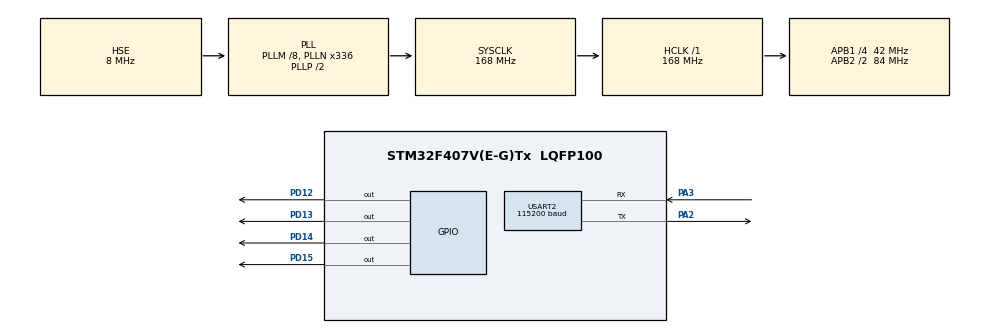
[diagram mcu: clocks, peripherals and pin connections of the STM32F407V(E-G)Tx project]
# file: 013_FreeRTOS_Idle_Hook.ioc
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FREERTOS.Tasks01=defaultTask,24,128,StartDefaultTask,Default,NULL,Dynamic,NULL,NULL
Mcu.Family=STM32F4
Mcu.Name=STM32F407V(E-G)Tx
Mcu.Package=LQFP100
NVIC.PriorityGroup=NVIC_PRIORITYGROUP_4
NVIC.TIM8_TRG_COM_TIM14_IRQn=true\:15\:0\:false\:false\:true\:false\:false\:true\:true
NVIC.TimeBase=TIM8_TRG_COM_TIM14_IRQn
NVIC.TimeBaseIP=TIM14
NVIC.USART2_IRQn=true\:5\:0\:false\:false\:true\:true\:true\:true\:true
PA2.Mode=Asynchronous
PA2.Signal=USART2_TX
PA3.Mode=Asynchronous
PA3.Signal=USART2_RX
PD12.Signal=GPIO_Output
PD13.Signal=GPIO_Output
PD14.Signal=GPIO_Output
PD15.Signal=GPIO_Output
PH0-OSC_IN.Mode=HSE-External-Oscillator
PH0-OSC_IN.Signal=RCC_OSC_IN
PH1-OSC_OUT.Mode=HSE-External-Oscillator
PH1-OSC_OUT.Signal=RCC_OSC_OUT
ProjectManager.HeapSize=0x200
ProjectManager.StackSize=0x400
ProjectManager.TargetToolchain=STM32CubeIDE
RCC.48MHZClocksFreq_Value=48000000
RCC.AHBFreq_Value=168000000
RCC.APB1CLKDivider=RCC_HCLK_DIV4
RCC.APB1Freq_Value=42000000
RCC.APB1TimFreq_Value=84000000
RCC.APB2CLKDivider=RCC_HCLK_DIV2
RCC.APB2Freq_Value=84000000
RCC.APB2TimFreq_Value=168000000
RCC.CortexFreq_Value=168000000
RCC.HCLKFreq_Value=168000000
RCC.HSE_VALUE=8000000
RCC.HSI_VALUE=16000000
RCC.LSE_VALUE=32768
RCC.PLLM=8
RCC.PLLN=336
RCC.PLLQ=7
RCC.PLLSourceVirtual=RCC_PLLSOURCE_HSE
RCC.SYSCLKFreq_VALUE=168000000
RCC.SYSCLKSource=RCC_SYSCLKSOURCE_PLLCLK
RCC.VCOOutputFreq_Value=336000000
USART2.BaudRate=115200
USART2.VirtualMode=VM_ASYNC
VP_FREERTOS_VS_CMSIS_V2.Mode=CMSIS_V2
VP_SYS_VS_tim14.Mode=TIM14
board=STM32F407G-DISC1

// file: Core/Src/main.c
/* USER CODE BEGIN Header */
/**
  ******************************************************************************
  * @file           : main.c
  * @brief          : Main program body
  ******************************************************************************
  * @attention
  *
  * Copyright (c) 2023 STMicroelectronics.
  * All rights reserved.
  *
  * This software is licensed under terms that can be found in the LICENSE file
  * in the root directory of this software component.
  * If no LICENSE file comes with this software, it is provided AS-IS.
  *
  ******************************************************************************
  */
/* USER CODE END Header */
#include "main.h"

/* USER CODE BEGIN Includes */
#include "FreeRTOS.h"
#include "task.h"
#include <string.h>
/* USER CODE END Includes */

UART_HandleTypeDef huart2;

/* Definitions for defaultTask */

/* USER CODE BEGIN PV */
volatile uint32_t ulIdleCycleCount = 0UL;
/* USER CODE END PV */

void SystemClock_Config(void);
static void MX_GPIO_Init(void);
static void MX_USART2_UART_Init(void);
void StartDefaultTask(void *argument);

/* USER CODE BEGIN 0 */
void vApplicationIdleHook(void)
{
	ulIdleCycleCount++;
}
void vTaskFunction(void *pvParameters)
{
	char *pcTaskName;
	const TickType_t xDelay250ms = pdMS_TO_TICKS(250);
	pcTaskName = (char *)pvParameters;
	char buffer[50];

	for(;;)
	{
		HAL_UART_Transmit(&huart2, (uint8_t *)pcTaskName,strlen(pcTaskName), HAL_MAX_DELAY);
		sprintf(buffer, "ulIdleCycleCount : %ld\r\n",ulIdleCycleCount);
		HAL_UART_Transmit(&huart2, (uint8_t *)buffer, strlen(buffer), HAL_MAX_DELAY);
		vTaskDelay(xDelay250ms);
	}
}
/* USER CODE END 0 */

int main(void)
{
  /* USER CODE BEGIN 1 */
  static const char *Task1Text = "Task 1 Running\r\n";
  static const char *Task2Text = "Task 2 Running\r\n";
  /* USER CODE END 1 */

  /* MCU Configuration--------------------------------------------------------*/

  /* Reset of all peripherals, Initializes the Flash interface and the Systick. */
  HAL_Init();

  /* Configure the system clock */
  SystemClock_Config();

  /* Initialize all configured peripherals */
  MX_GPIO_Init();
  MX_USART2_UART_Init();
  /* USER CODE BEGIN 2 */
  xTaskCreate(vTaskFunction, "Task 1", 1000, (void *)Task1Text, 2, NULL);
  xTaskCreate(vTaskFunction, "Task 2", 1000, (void *)Task2Text, 2, NULL);
  vTaskStartScheduler();
  /* USER CODE END 2 */

  /* Init scheduler */

  /* Create the thread(s) */
  /* creation of defaultTask */

  /* Start scheduler */
  /* We should never get here as control is now taken by the scheduler */
  /* Infinite loop */
  while (1)
  {

  }
}

void SystemClock_Config(void)
{
  RCC_OscInitTypeDef RCC_OscInitStruct = {0};
  RCC_ClkInitTypeDef RCC_ClkInitStruct = {0};

  /** Configure the main internal regulator output voltage
  */
  __HAL_RCC_PWR_CLK_ENABLE();
  __HAL_PWR_VOLTAGESCALING_CONFIG(PWR_REGULATOR_VOLTAGE_SCALE1);

  /** Initializes the RCC Oscillators according to the specified parameters
  * in the RCC_OscInitTypeDef structure.
  */
  RCC_OscInitStruct.OscillatorType = RCC_OSCILLATORTYPE_HSE;
  RCC_OscInitStruct.HSEState = RCC_HSE_ON;
  RCC_OscInitStruct.PLL.PLLState = RCC_PLL_ON;
  RCC_OscInitStruct.PLL.PLLSource = RCC_PLLSOURCE_HSE;
  RCC_OscInitStruct.PLL.PLLM = 8;
  RCC_OscInitStruct.PLL.PLLN = 336;
  RCC_OscInitStruct.PLL.PLLP = RCC_PLLP_DIV2;
  RCC_OscInitStruct.PLL.PLLQ = 7;
  if (HAL_RCC_OscConfig(&RCC_OscInitStruct) != HAL_OK)
  {
    Error_Handler();
  }

  /** Initializes the CPU, AHB and APB buses clocks
  */
  RCC_ClkInitStruct.ClockType = RCC_CLOCKTYPE_HCLK|RCC_CLOCKTYPE_SYSCLK
                              |RCC_CLOCKTYPE_PCLK1|RCC_CLOCKTYPE_PCLK2;
  RCC_ClkInitStruct.SYSCLKSource = RCC_SYSCLKSOURCE_PLLCLK;
  RCC_ClkInitStruct.AHBCLKDivider = RCC_SYSCLK_DIV1;
  RCC_ClkInitStruct.APB1CLKDivider = RCC_HCLK_DIV4;
  RCC_ClkInitStruct.APB2CLKDivider = RCC_HCLK_DIV2;

  if (HAL_RCC_ClockConfig(&RCC_ClkInitStruct, FLASH_LATENCY_5) != HAL_OK)
  {
    Error_Handler();
  }
}

static void MX_USART2_UART_Init(void)
{

  huart2.Instance = USART2;
  huart2.Init.BaudRate = 115200;
  huart2.Init.WordLength = UART_WORDLENGTH_8B;
  huart2.Init.StopBits = UART_STOPBITS_1;
  huart2.Init.Parity = UART_PARITY_NONE;
  huart2.Init.Mode = UART_MODE_TX_RX;
  huart2.Init.HwFlowCtl = UART_HWCONTROL_NONE;
  huart2.Init.OverSampling = UART_OVERSAMPLING_16;
  if (HAL_UART_Init(&huart2) != HAL_OK)
  {
    Error_Handler();
  }

}

static void MX_GPIO_Init(void)
{
  GPIO_InitTypeDef GPIO_InitStruct = {0};

  /* GPIO Ports Clock Enable */
  __HAL_RCC_GPIOH_CLK_ENABLE();
  __HAL_RCC_GPIOA_CLK_ENABLE();
  __HAL_RCC_GPIOD_CLK_ENABLE();

  /*Configure GPIO pin Output Level */
  HAL_GPIO_WritePin(GPIOD, GPIO_PIN_12|GPIO_PIN_13|GPIO_PIN_14|GPIO_PIN_15, GPIO_PIN_RESET);

  /*Configure GPIO pins : PD12 PD13 PD14 PD15 */
  GPIO_InitStruct.Pin = GPIO_PIN_12|GPIO_PIN_13|GPIO_PIN_14|GPIO_PIN_15;
  GPIO_InitStruct.Mode = GPIO_MODE_OUTPUT_PP;
  GPIO_InitStruct.Pull = GPIO_NOPULL;
  GPIO_InitStruct.Speed = GPIO_SPEED_FREQ_LOW;
  HAL_GPIO_Init(GPIOD, &GPIO_InitStruct);

}

void HAL_TIM_PeriodElapsedCallback(TIM_HandleTypeDef *htim)
{
  if (htim->Instance == TIM14) {
    HAL_IncTick();
  }
}

void Error_Handler(void)
{
  __disable_irq();
  while (1)
  {
  }
}
